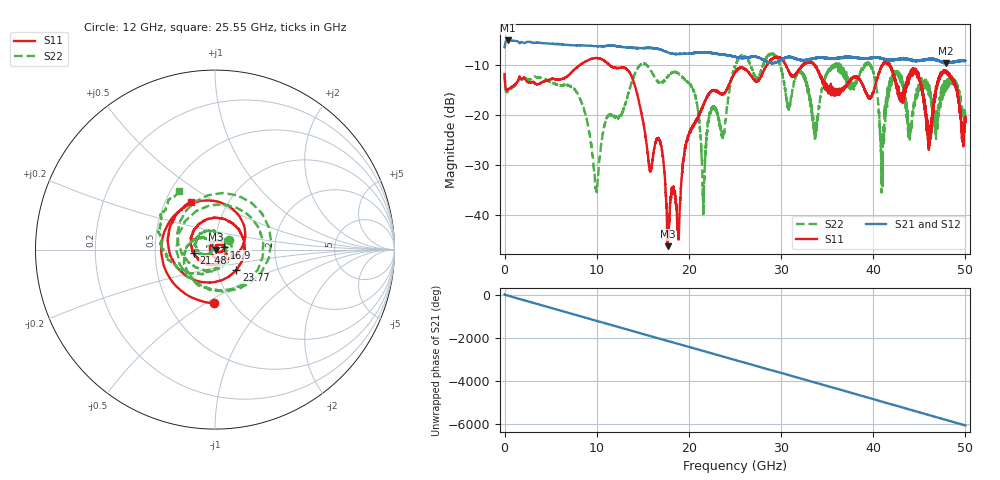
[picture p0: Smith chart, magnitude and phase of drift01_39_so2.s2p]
!Created with skrf (http://scikit-rf.org).
# Hz S RI R 50.0
!freq ReS11 ImS11 ReS21 ImS21 ReS12 ImS12 ReS22 ImS22
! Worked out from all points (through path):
!   10001 points, 300 kHz to 50 GHz, reference 50 ohm
!   highest |S21| = -5.05 dB at 335.3 MHz (marker M1); lowest = -9.6 dB at 47.92 GHz (marker M2)
!   group delay of S21, straight-line fit = 336 ps
!   lowest |S11| = -46.2 dB at 17.69 GHz (marker M3), VSWR 1.01, Z = 50.5 - j0.0933 ohm
!   |S11| at or under -10 dB: start of sweep to 8.153 GHz; 11.41 GHz to 28.44 GHz (17.03 GHz wide, 85.5 % of centre); 41.79 GHz to end of sweep (the widest 3 of 10)
!   |S22| runs from -39.8 to -7.6 dB; largest |S21 - S12| = 0.013
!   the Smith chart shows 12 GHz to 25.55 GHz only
!   S11 on the Smith chart (normalised r, x): 12 GHz: 0.83, -0.54; 16.9 GHz: 1.11, +0.03; 21.48 GHz: 0.79, -0.03; 23.77 GHz: 1.23, -0.29; 25.55 GHz: 0.67, +0.39
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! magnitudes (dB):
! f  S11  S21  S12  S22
! 300 kHz  -11.8  -6.4  -6.5  -11.7
! 335.3 MHz  -15.0  -5.1  -5.1  -15.3
! 8.335 GHz  -9.8  -6.0  -6.0  -17.5
! 9.935 GHz  -8.6  -6.2  -6.2  -34.4
! 12 GHz  -10.5  -6.1  -6.1  -20.4
! 15.78 GHz  -31.0  -6.5  -6.5  -10.8
! 16.67 GHz  -24.6  -6.8  -6.7  -13.4
! 16.9 GHz  -25.5  -6.9  -6.9  -13.6
! 17.69 GHz  -46.2  -7.4  -7.4  -12.3
! 20.5 GHz  -22.0  -7.6  -7.6  -15.0
! 21.48 GHz  -18.5  -7.4  -7.4  -32.0
! 22.47 GHz  -15.2  -7.5  -7.6  -19.0
! 23.77 GHz  -15.6  -7.9  -7.9  -23.1
! 25 GHz  -11.4  -8.3  -8.4  -10.3
! 25.55 GHz  -10.5  -8.5  -8.5  -8.3
! 33.34 GHz  -9.5  -8.8  -8.7  -19.8
! 39.49 GHz  -16.5  -8.6  -8.6  -9.9
! 40.95 GHz  -10.1  -8.6  -8.6  -28.4
! 41.67 GHz  -9.7  -8.9  -9.0  -14.8
! 46.06 GHz  -25.9  -8.7  -8.7  -14.8
! 47.92 GHz  -11.4  -9.6  -9.5  -13.5
! 50 GHz  -21.3  -9.1  -9.2  -20.4
